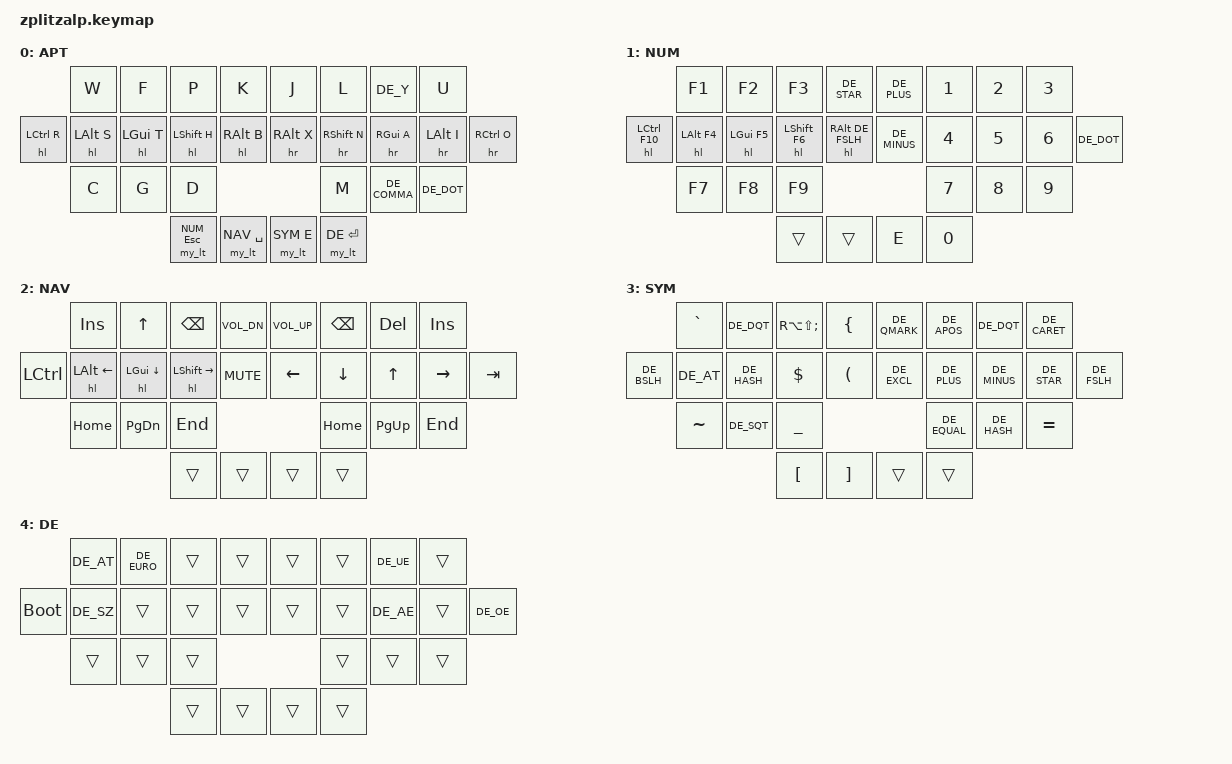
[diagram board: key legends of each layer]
#include "base_zplitzalp.h"


// zplitzalp key numbers
//     __________________________  __________________________
//    /     0  |  1  |  2  |  3  \/   4 |   5 |   6 |   7    \
// |  8  |  9  | 10  | 11  | 12  /\  13 |  14 |  15 |  16 | 17  |
//    \    18  | 19  | 20    /        \    21 |  22 |  23   /
//          \    24  | 25  /            \  26 |  27    /
//           --------------              --------------

/ {

    keymap {
        compatible = "zmk,keymap";

        aptmak {
            label = "APT";

            bindings = <
                               &kp W          &kp F          &kp P          &kp K          &kp J          &kp L          &kp DE_Y       &kp U
                &hl LCTRL R    &hl LALT S     &hl LGUI T     &hl LSHFT H    &hl RALT B     &hr RALT X     &hr RSHFT N    &hr RGUI A     &hr LALT I     &hr RCTRL O
                               &kp C          &kp G          &kp D                                        &kp M          &kp DE_COMMA   &kp DE_DOT
                                                           &my_lt NUM ESC  &my_lt NAV SPACE  &my_lt SYM E  &my_lt DE ENTER
            >;
        };
        numbers {
            label = "NUM";

            bindings = <
                               &kp F1         &kp F2         &kp F3         &kp DE_STAR        &kp DE_PLUS     &kp N1         &kp N2         &kp N3
                &hl LCTRL F10  &hl LALT F4    &hl LGUI F5    &hl LSHFT F6   &hl RALT DE_FSLH   &kp DE_MINUS    &kp N4         &kp N5         &kp N6         &kp DE_DOT
                               &kp F7         &kp F8         &kp F9                                            &kp N7         &kp N8         &kp N9
                                                             &trans         &trans             &kp E           &kp N0
            >;
        };
        navigation {
            label = "NAV";

            bindings = <
                               &kp INSERT     &kp UP         &kp BSPC        &kp C_VOL_DN   &kp C_VOL_UP   &kp BSPC       &kp DEL        &kp INSERT
                &kp LCTRL      &hl LALT LEFT  &hl LGUI DOWN  &hl LSHFT RIGHT &kp C_MUTE     &kp LEFT       &kp DOWN       &kp UP         &kp RIGHT      &kp TAB
                               &kp HOME       &kp PG_DN      &kp END                                       &kp HOME       &kp PG_UP      &kp END
                                                             &trans          &trans         &trans         &trans
            >;
        };
        symbols {
            label = "SYM";

            bindings = <
                               &kp GRAVE      &kp DE_DQT     &kp RA(LS(SEMI)) &kp LBRC       &kp DE_QMARK    &kp DE_APOS    &kp DE_DQT     &kp DE_CARET
                &kp DE_BSLH    &kp DE_AT      &kp DE_HASH    &kp DOLLAR       &kp LPAR       &kp DE_EXCL     &kp DE_PLUS    &kp DE_MINUS   &kp DE_STAR    &kp DE_FSLH
                               &kp TILDE      &kp DE_SQT     &kp UNDERSCORE                                  &kp DE_EQUAL   &kp DE_HASH    &kp EQUAL
                                                             &kp LBKT         &kp RBKT       &trans          &trans
            >;
        };
        function {
            label = "DE";

            bindings = <
                               &kp DE_AT      &kp DE_EURO    &trans         &trans         &trans       &trans        &kp DE_UE     &trans
                &bootloader    &kp DE_SZ      &trans         &trans         &trans         &trans       &trans        &kp DE_AE     &trans        &kp DE_OE
                               &trans         &trans         &trans                                     &trans        &trans        &trans
                                                             &trans         &trans         &trans       &trans
            >;
        };

    };
};

//     __________________________  __________________________
//    /     1  |  2  |  3  |  4  \/   5 |   6 |   7 |   8    \
// | 10  | 11  | 12  | 13  | 14  ||  15 |  16 |  17 |  18 | 19  |
//    \    20  | 21  | 22  |     ||     |  23 |  24 |  25   /
//                \    26  | 27  /\  28 |  29    /
//                 --------------  --------------
